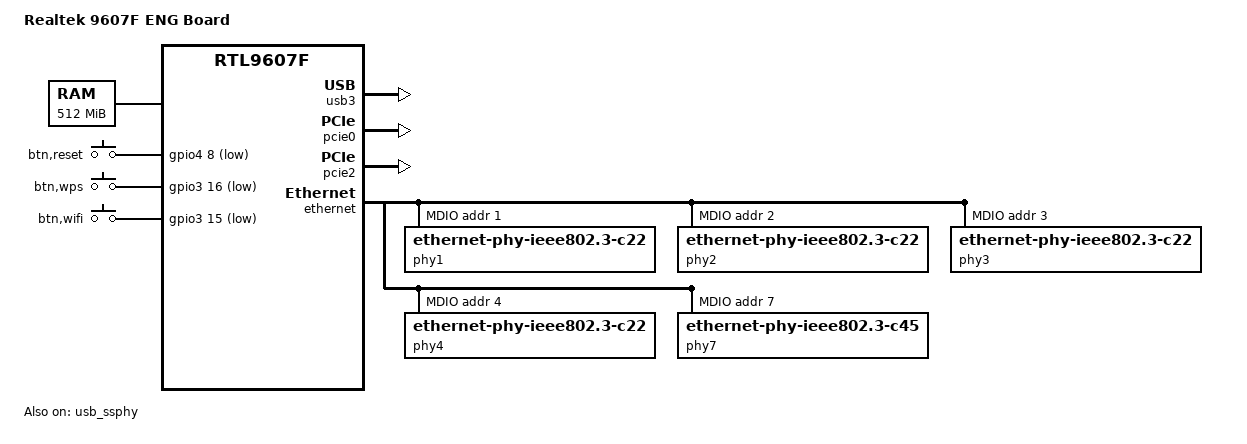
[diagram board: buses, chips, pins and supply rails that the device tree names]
/*
 * dts file for Realtek ELNATH Board
 *
 * Copyright (C) 2021, Realtek
 *
 */

/dts-v1/;

#include <dt-bindings/gpio/gpio.h>
#include <dt-bindings/input/input.h>
#include "rtl9607F-soc_asic.dtsi"
#include "rtl9607F-spinand.dtsi"
#include "rtl9607F-eng-voip.dts"
#include "rtl9607F-soc-clks.dtsi"
#include "rtk-gpio.dtsi"


/ {
	model = "Realtek 9607F ENG Board";
	compatible = "realtek,9607f";
	#address-cells = <2>;
	#size-cells = <2>;
	interrupt-parent = <&gic>;

	memory { /* 512MB */
		device_type = "memory";
		reg = <0x00000000 0x00000000 0x0 0x20000000>;
	};

	gpio-reset {
			compatible = "linux,gpio-reset";

            pcie0_device_rst: pcie0_device {
                    #reset-cells = <0>;
                    /* 255 will inactive this node */
                    gpios = <&gpio4 9 GPIO_ACTIVE_LOW>;
                    asserted-state = <2>;
                    /* device reset pulse width */
                    duration-ms = <150>;
            };

#if 0
            pcie1_device_rst: pcie1_device {
                    #reset-cells = <0>;
                    /* 255 will inactive this node */
                    gpios = <&gpio3 6 GPIO_ACTIVE_LOW>;
                    asserted-state = <2>;
                    /* device reset pulse width */
                    duration-ms = <10>;
            };
#endif

            pcie2_device_rst: pcie2_device {
                    #reset-cells = <0>;
                    /* 255 will inactive this node */
                    gpios = <&gpio4 12 GPIO_ACTIVE_LOW>;
                    asserted-state = <2>;
                    /* device reset pulse width */
                    duration-ms = <10>;
            };
            xgphy_device_rst: xgphy_device {
                    #reset-cells = <0>;
                    gpios = <&gpio3 17 0>;
                    asserted-state = <3>;
            };
	};
#if 0
	vbus_rst {
            compatible = "rtk,vbus-chain";
            resets = <&usb_vbus_rst>;
	};
#endif
	gpio-keys {
		compatible = "gpio-keys";
		autorepeat;
#if 1
		btn_reset {
			label = "btn,reset";
			linux,code = <KEY_RESTART>;
			gpios = <&gpio4 8 GPIO_ACTIVE_LOW>;
		};
		btn_wps {
			label = "btn,wps";
			linux,code = <KEY_WPS_BUTTON>;
			gpios = <&gpio3 16 GPIO_ACTIVE_LOW>;
		};
		btn_wifi {
			label = "btn,wifi";
			linux,code = <KEY_WLAN>;
			gpios = <&gpio3 15 GPIO_ACTIVE_LOW>;
		};
#endif
	};
};
#if 0
/* "okay" - turn on, "disabled" - turn off */
&glb_phy {
	/* forced-on; */
};

&i2c0 {
	   clock-frequency = <100000>;
	   timeout = <1000>;
	   retries = <3>;
};

&i2c1 {
	   status = "disabled";
	   clock-frequency = <100000>;
	   timeout = <1000>;
	   retries = <3>;
};
#endif

&usb_ssphy {
	usb-vbus-gpio = <&gpio4 13 GPIO_ACTIVE_HIGH>;
	phymask = <0x2>;
	status = "okay";
};
&usb3 {
	status = "okay";
};

#if 1
&pcie0 {
	status = "okay";

	resets = <&block_rst PCI0_RESET>, <&dphy_rst PHY_S0_PCIE_RESET>,
		 <&pcie0_device_rst>;
	reset-names = "core_reset", "phy_reset", "device_reset";

	ready-time = /bits/ 16 <150>; /* device with embedded OS system */

	/*num-lanes = <2>;*/
	/*dma-coherent;*/
	linux,pci-domain = <0>;
};
#if 0
&pcie1 {
	status = "okay";

	resets = <&block_rst PCI1_RESET>, <&dphy_rst PHY_S1_PCIE_RESET>,
		 <&pcie1_device_rst>;
	reset-names = "core_reset", "phy_reset", "device_reset";

	ready-time = /bits/ 16 <50>;

	/* forced-gen1; */
	num-lanes = <1>;
	dma-coherent;
	linux,pci-domain = <1>;
	/* used for extended intr pin
	intr-bitmap = <0xf>;
	msi-intr-mask = <0x00000001>,
	                <0x00000002>,
	                <0x00000004>,
	                <0x00000008>;
	*/
};
#endif

&pcie2 {
	status = "okay";

	resets = <&block_rst PCI2_RESET>, <&dphy_rst PHY_S2_PCIE_RESET>,
		 <&pcie2_device_rst>;
	reset-names = "core_reset", "phy_reset", "device_reset";

	ready-time = /bits/ 16 <50>;

	/* forced-gen1; */
	/* dma-coherent; */
	linux,pci-domain = <1>;
};
#endif
&pon_rst {
        pinctrl-0 = <&pins_opt>;
        pinctrl-names = "default";
};
&ethernet {
	pinctrl-0 = <&pins_mdio>;
	pinctrl-names = "default";

	mdio:mdio {
		phy1:phy@1 {
			compatible = "ethernet-phy-ieee802.3-c22";
			reg = <1>;
		};
		phy2:phy@2 {
			compatible = "ethernet-phy-ieee802.3-c22";
			reg = <2>;
		};
		phy3:phy@3 {
			compatible = "ethernet-phy-ieee802.3-c22";
			reg = <3>;
		};
		phy4:phy@4 {
			compatible = "ethernet-phy-ieee802.3-c22";
			reg = <4>;
		};
		phy7:phy@7 {
			compatible = "ethernet-phy-ieee802.3-c45";
			phy-mode = "sgmii";
			/* max-speed = <100>; */
			reg = <7>;
		};
	};
};

&ext_gphy {
        /* eth_mapping_phyAddr = <Port#0 PhyAddr#0>, ... ,<Port#n PhyAddr#n>; */
        port_mapping_phyAddr = <6 7>;
};

&switchdev {
	compatible = "realtek,switchdev";
	ethernet-ports {
		rtksw_port0: port@0 {
				id = <0>;
				label = "port0";
				mac-address = [ 00 00 00 00 00 00 ];
				netdev-name = "eth0.2";
				phy-handle = <&phy1>;
		};
		rtksw_port1: port@1 {
				id = <1>;
				label = "port1";
				mac-address = [ 00 00 00 00 00 00 ];
				netdev-name = "eth0.3";
				phy-handle = <&phy2>;
		};
		rtksw_port2: port@2 {
				id = <2>;
				label = "port2";
				mac-address = [ 00 00 00 00 00 00 ];
				netdev-name = "eth0.4";
				phy-handle = <&phy3>;
		};
		rtksw_port3: port@3 {
				id = <3>;
				label = "port3";
				mac-address = [ 00 00 00 00 00 00 ];
				netdev-name = "eth0.5";
				phy-handle = <&phy7>;
		};
		rtksw_port4: port@4 {
				id = <7>;
				label = "port7";
				mac-address = [ 00 00 00 00 00 00 ];
				netdev-name = "nas0";
		};
	};
};

